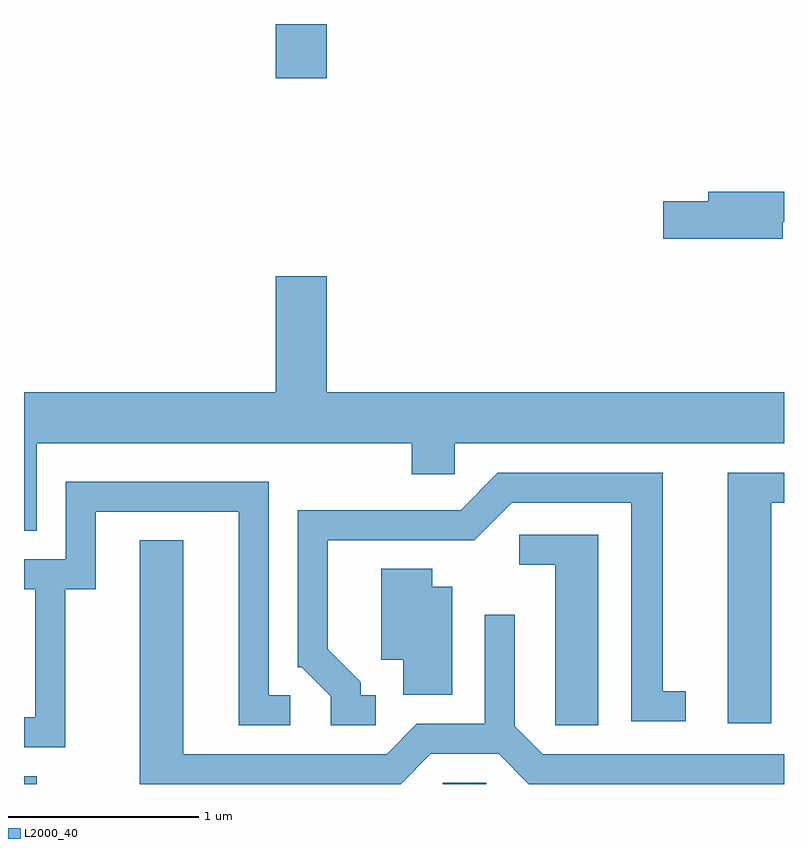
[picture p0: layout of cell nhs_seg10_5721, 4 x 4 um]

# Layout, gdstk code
import gdstk
lib = gdstk.Library(unit=1e-6, precision=1e-09)
def R(c, l, rs):  # rectangles x0, y0, x1, y1
    for r in rs: c.add(gdstk.rectangle(r[:2], r[2:], *l))
def P(c, l, *ps):  # polygons
    for p in ps: c.add(gdstk.Polygon(p, *l))
L2000_40 = (2000, 40)

nhs_seg10_5721 = lib.new_cell('nhs_seg10_5721')
R(nhs_seg10_5721, L2000_40, [(353.611,2156.522,353.679,2156.564), (355.816,2156.522,356.044,2156.529), (354.936,2160.236,355.204,2160.522)])
P(nhs_seg10_5721, L2000_40, [(357.604,2159.481),(357.611,2159.481),(357.611,2159.639),(357.211,2159.639),(357.211,2159.589),(356.976,2159.589),(356.976,2159.391),(357.604,2159.391)],
  [(353.611,2157.856),(353.679,2157.856),(353.679,2158.316),(355.651,2158.316),(355.651,2158.151),(355.879,2158.151),(355.879,2158.316),(357.611,2158.316),(357.611,2158.584),(355.204,2158.584),(355.204,2159.194),(354.936,2159.194),(354.936,2158.584),(353.611,2158.584)],
  [(355.463,2156.989),(355.384,2156.989),(355.384,2157.057),(355.209,2157.232),(355.209,2157.806),(355.982,2157.806),(356.177,2158.001),(356.806,2158.001),(356.806,2156.851),(357.093,2156.851),(357.093,2157.009),(356.974,2157.009),(356.974,2158.159),(356.104,2158.159),(355.909,2157.964),(355.051,2157.964),(355.051,2157.136),(355.074,2157.136),(355.226,2156.984),(355.226,2156.831),(355.463,2156.831)],
  [(357.544,2158.001),(357.611,2158.001),(357.611,2158.159),(357.316,2158.159),(357.316,2156.841),(357.544,2156.841)],
  [(353.829,2157.546),(353.989,2157.546),(353.989,2157.956),(354.741,2157.956),(354.741,2156.831),(355.013,2156.831),(355.013,2156.989),(354.899,2156.989),(354.899,2158.114),(353.831,2158.114),(353.831,2157.704),(353.611,2157.704),(353.611,2157.546),(353.671,2157.546),(353.671,2156.874),(353.611,2156.874),(353.611,2156.716),(353.829,2156.716)],
  [(356.634,2157.834),(356.218,2157.834),(356.218,2157.676),(356.406,2157.676),(356.406,2156.831),(356.634,2156.831)],
  [(355.752,2156.681),(356.109,2156.681),(356.268,2156.522),(357.611,2156.522),(357.611,2156.679),(356.342,2156.679),(356.194,2156.827),(356.194,2157.413),(356.036,2157.413),(356.036,2156.839),(355.679,2156.839),(355.519,2156.679),(354.449,2156.679),(354.449,2157.804),(354.221,2157.804),(354.221,2156.522),(355.593,2156.522)],
  [(355.864,2157.559),(355.759,2157.559),(355.759,2157.654),(355.491,2157.654),(355.491,2157.176),(355.606,2157.176),(355.606,2156.991),(355.864,2156.991)])

lib.write_gds('nhs_seg10_5721.gds')
